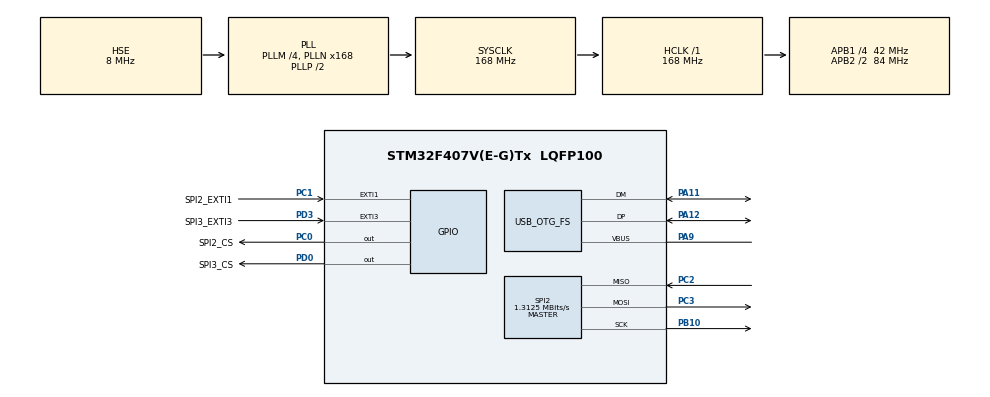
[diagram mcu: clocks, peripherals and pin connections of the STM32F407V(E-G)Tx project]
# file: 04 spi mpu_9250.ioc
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Mcu.Family=STM32F4
Mcu.Name=STM32F407V(E-G)Tx
Mcu.Package=LQFP100
NVIC.OTG_FS_IRQn=true\:0\:0\:false\:false\:true\:false\:true\:true
NVIC.PriorityGroup=NVIC_PRIORITYGROUP_0
NVIC.TIM1_BRK_TIM9_IRQn=true\:0\:0\:false\:false\:true\:true\:true\:true
PA11.Mode=Device_Only
PA11.Signal=USB_OTG_FS_DM
PA12.Mode=Device_Only
PA12.Signal=USB_OTG_FS_DP
PA13.Mode=Serial_Wire
PA13.Signal=SYS_JTMS-SWDIO
PA14.Mode=Serial_Wire
PA14.Signal=SYS_JTCK-SWCLK
PA9.Mode=Activate_VBUS
PA9.Signal=USB_OTG_FS_VBUS
PB10.Mode=Full_Duplex_Master
PB10.Signal=SPI2_SCK
PC0.GPIO_Label=SPI2_CS
PC0.PinState=GPIO_PIN_SET
PC0.Signal=GPIO_Output
PC1.GPIO_Label=SPI2_EXTI1
PC1.Signal=GPXTI1
PC2.Mode=Full_Duplex_Master
PC2.Signal=SPI2_MISO
PC3.Mode=Full_Duplex_Master
PC3.Signal=SPI2_MOSI
PD0.GPIO_Label=SPI3_CS
PD0.PinState=GPIO_PIN_SET
PD0.Signal=GPIO_Output
PD3.GPIO_Label=SPI3_EXTI3
PD3.Signal=GPXTI3
PH0-OSC_IN.Mode=HSE-External-Oscillator
PH0-OSC_IN.Signal=RCC_OSC_IN
PH1-OSC_OUT.Mode=HSE-External-Oscillator
PH1-OSC_OUT.Signal=RCC_OSC_OUT
ProjectManager.HeapSize=0x200
ProjectManager.StackSize=0x400
ProjectManager.TargetToolchain=MDK-ARM V5.32
RCC.48MHZClocksFreq_Value=48000000
RCC.AHBFreq_Value=168000000
RCC.APB1CLKDivider=RCC_HCLK_DIV4
RCC.APB1Freq_Value=42000000
RCC.APB1TimFreq_Value=84000000
RCC.APB2CLKDivider=RCC_HCLK_DIV2
RCC.APB2Freq_Value=84000000
RCC.APB2TimFreq_Value=168000000
RCC.CortexFreq_Value=168000000
RCC.HCLKFreq_Value=168000000
RCC.HSE_VALUE=8000000
RCC.HSI_VALUE=16000000
RCC.LSE_VALUE=32768
RCC.PLLM=4
RCC.PLLN=168
RCC.PLLQ=7
RCC.SYSCLKFreq_VALUE=168000000
RCC.SYSCLKSource=RCC_SYSCLKSOURCE_PLLCLK
RCC.VCOOutputFreq_Value=336000000
SPI2.BaudRatePrescaler=SPI_BAUDRATEPRESCALER_32
SPI2.CLKPhase=SPI_PHASE_2EDGE
SPI2.CLKPolarity=SPI_POLARITY_HIGH
SPI2.CalculateBaudRate=1.3125 MBits/s
SPI2.Direction=SPI_DIRECTION_2LINES
SPI2.Mode=SPI_MODE_MASTER
SPI2.VirtualType=VM_MASTER
TIM9.Period=9999
TIM9.Prescaler=167
USB_DEVICE.CLASS_NAME_FS=CDC
USB_DEVICE.MANUFACTURER_STRING-CDC_FS=ROM_Dynamics
USB_DEVICE.PRODUCT_STRING_CDC_FS=ROM Virtual ComPort
USB_DEVICE.VirtualMode-CDC_FS=Cdc
USB_DEVICE.VirtualModeFS=Cdc_FS
USB_OTG_FS.VirtualMode=Device_Only
VP_TIM9_VS_ClockSourceINT.Mode=Internal
VP_USB_DEVICE_VS_USB_DEVICE_CDC_FS.Mode=CDC_FS
board=STM32F407G-DISC1

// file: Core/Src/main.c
/* USER CODE BEGIN Header */
/**
  ******************************************************************************
  * @file           : main.c
  * @brief          : Main program body
  ******************************************************************************
  * @attention
  *
  * Copyright (c) 2024 STMicroelectronics.
  * All rights reserved.
  *
  * This software is licensed under terms that can be found in the LICENSE file
  * in the root directory of this software component.
  * If no LICENSE file comes with this software, it is provided AS-IS.
  *
  ******************************************************************************
  */
/* USER CODE END Header */
#include "main.h"
#include "spi.h"
#include "tim.h"
#include "usb_device.h"
#include "gpio.h"

/* USER CODE BEGIN Includes */
#include "usbd_cdc_if.h"
#include "MPU9250.h"
#include "string.h"
/* USER CODE END Includes */

void SystemClock_Config(void);

/* USER CODE BEGIN 0 */
MPU9250_t mpu9250;
uint8_t usb_tx_buf[100];
void mpu_callback(void);
/* USER CODE END 0 */

int main(void)
{
  /* USER CODE BEGIN 1 */
	mpu9250.settings.gFullScaleRange = GFSR_500DPS;
	mpu9250.settings.aFullScaleRange = AFSR_4G;
	mpu9250.settings.CS_PIN = GPIO_PIN_0;
	mpu9250.settings.CS_PORT= GPIOC;
	mpu9250.attitude.tau = 0.98;
	mpu9250.attitude.dt = 0.004;

  /* USER CODE END 1 */

  /* MCU Configuration--------------------------------------------------------*/

  /* Reset of all peripherals, Initializes the Flash interface and the Systick. */
  HAL_Init();

  /* Configure the system clock */
  SystemClock_Config();

  /* Initialize all configured peripherals */
  MX_GPIO_Init();
  MX_SPI2_Init();
  MX_TIM9_Init();
  MX_USB_DEVICE_Init();
  /* USER CODE BEGIN 2 */
	if (MPU_begin(&hspi2, &mpu9250) != 1)
  {
    sprintf((char *)usb_tx_buf, "MPU_begin() ERROR!\r\n");
		CDC_Transmit_FS( (uint8_t*)usb_tx_buf, strlen((char *)usb_tx_buf) );
    while (1){}
  }

	// Calibrate the IMU
  sprintf((char *)usb_tx_buf, "Calibrating ....\r\n");
	CDC_Transmit_FS( (uint8_t*)usb_tx_buf, strlen((char *)usb_tx_buf) );

  MPU_calibrateGyro(&hspi2, &mpu9250, 1500);

	HAL_TIM_Base_Start_IT(&htim9);

  /* USER CODE END 2 */

  /* Infinite loop */
  while (1)
  {

  }
}

void SystemClock_Config(void)
{
  RCC_OscInitTypeDef RCC_OscInitStruct = {0};
  RCC_ClkInitTypeDef RCC_ClkInitStruct = {0};

  /** Configure the main internal regulator output voltage
  */
  __HAL_RCC_PWR_CLK_ENABLE();
  __HAL_PWR_VOLTAGESCALING_CONFIG(PWR_REGULATOR_VOLTAGE_SCALE1);

  /** Initializes the RCC Oscillators according to the specified parameters
  * in the RCC_OscInitTypeDef structure.
  */
  RCC_OscInitStruct.OscillatorType = RCC_OSCILLATORTYPE_HSE;
  RCC_OscInitStruct.HSEState = RCC_HSE_ON;
  RCC_OscInitStruct.PLL.PLLState = RCC_PLL_ON;
  RCC_OscInitStruct.PLL.PLLSource = RCC_PLLSOURCE_HSE;
  RCC_OscInitStruct.PLL.PLLM = 4;
  RCC_OscInitStruct.PLL.PLLN = 168;
  RCC_OscInitStruct.PLL.PLLP = RCC_PLLP_DIV2;
  RCC_OscInitStruct.PLL.PLLQ = 7;
  if (HAL_RCC_OscConfig(&RCC_OscInitStruct) != HAL_OK)
  {
    Error_Handler();
  }

  /** Initializes the CPU, AHB and APB buses clocks
  */
  RCC_ClkInitStruct.ClockType = RCC_CLOCKTYPE_HCLK|RCC_CLOCKTYPE_SYSCLK
                              |RCC_CLOCKTYPE_PCLK1|RCC_CLOCKTYPE_PCLK2;
  RCC_ClkInitStruct.SYSCLKSource = RCC_SYSCLKSOURCE_PLLCLK;
  RCC_ClkInitStruct.AHBCLKDivider = RCC_SYSCLK_DIV1;
  RCC_ClkInitStruct.APB1CLKDivider = RCC_HCLK_DIV4;
  RCC_ClkInitStruct.APB2CLKDivider = RCC_HCLK_DIV2;

  if (HAL_RCC_ClockConfig(&RCC_ClkInitStruct, FLASH_LATENCY_5) != HAL_OK)
  {
    Error_Handler();
  }
}

/* USER CODE BEGIN 4 */
void mpu_callback(void)
{
		MPU_calcAttitude(&hspi2, &mpu9250);
    int16_t roll = roundf(10 * mpu9250.attitude.r);
    uint8_t rollDecimal = abs(roll % 10);
    int16_t pitch = roundf(10 * mpu9250.attitude.p);
    uint8_t pitchDecimal = abs(pitch % 10);
    int16_t yaw = roundf(10 * mpu9250.attitude.y);
    uint8_t yawDecimal = abs(yaw % 10);

		sprintf((char *)usb_tx_buf, "%d.%d\r\n", yaw/10, yawDecimal);
    CDC_Transmit_FS( (uint8_t*)usb_tx_buf, strlen((char *)usb_tx_buf) );
}
/* USER CODE END 4 */

void Error_Handler(void)
{
  __disable_irq();
  while (1)
  {
  }
}
